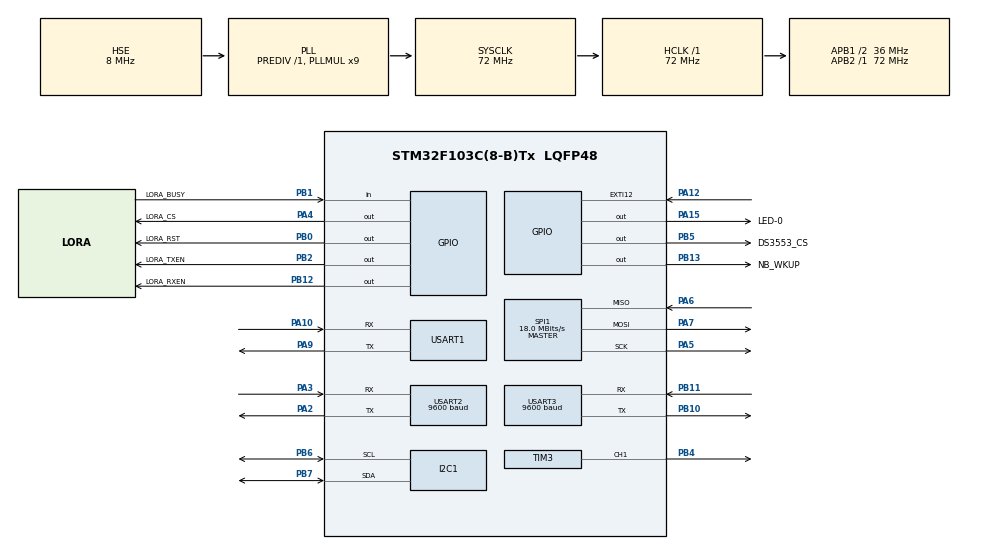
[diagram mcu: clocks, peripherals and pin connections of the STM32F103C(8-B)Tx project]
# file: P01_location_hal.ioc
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I2C1.I2C_Mode=I2C_Standard
Mcu.Family=STM32F1
Mcu.Name=STM32F103C(8-B)Tx
Mcu.Package=LQFP48
NVIC.PriorityGroup=NVIC_PRIORITYGROUP_4
NVIC.USART2_IRQn=true\:1\:0\:true\:false\:true\:true\:true\:true
PA10.Mode=Asynchronous
PA10.Signal=USART1_RX
PA12.GPIO_ModeDefaultEXTI=GPIO_MODE_IT_FALLING
PA12.GPIO_PuPd=GPIO_PULLUP
PA12.Signal=GPXTI12
PA13.Mode=Serial_Wire
PA13.Signal=SYS_JTMS-SWDIO
PA14.Mode=Serial_Wire
PA14.Signal=SYS_JTCK-SWCLK
PA15.GPIO_Label=LED-0
PA15.GPIO_Speed=GPIO_SPEED_FREQ_HIGH
PA15.Signal=GPIO_Output
PA2.Mode=Asynchronous
PA2.Signal=USART2_TX
PA3.Mode=Asynchronous
PA3.Signal=USART2_RX
PA4.GPIO_Label=LORA_CS
PA4.GPIO_Speed=GPIO_SPEED_FREQ_HIGH
PA4.PinState=GPIO_PIN_SET
PA4.Signal=GPIO_Output
PA5.Mode=Full_Duplex_Master
PA5.Signal=SPI1_SCK
PA6.Mode=Full_Duplex_Master
PA6.Signal=SPI1_MISO
PA7.Mode=Full_Duplex_Master
PA7.Signal=SPI1_MOSI
PA9.Mode=Asynchronous
PA9.Signal=USART1_TX
PB0.GPIO_Label=LORA_RST
PB0.GPIO_Speed=GPIO_SPEED_FREQ_HIGH
PB0.Signal=GPIO_Output
PB1.GPIO_Label=LORA_BUSY
PB1.Signal=GPIO_Input
PB10.Mode=Asynchronous
PB10.Signal=USART3_TX
PB11.Mode=Asynchronous
PB11.Signal=USART3_RX
PB12.GPIO_Label=LORA_RXEN
PB12.GPIO_Speed=GPIO_SPEED_FREQ_HIGH
PB12.Signal=GPIO_Output
PB13.GPIO_Label=NB_WKUP
PB13.GPIO_Speed=GPIO_SPEED_FREQ_HIGH
PB13.Signal=GPIO_Output
PB2.GPIO_Label=LORA_TXEN
PB2.GPIO_Speed=GPIO_SPEED_FREQ_HIGH
PB2.PinState=GPIO_PIN_RESET
PB2.Signal=GPIO_Output
PB4.Signal=S_TIM3_CH1
PB5.GPIO_Label=DS3553_CS
PB5.GPIO_Speed=GPIO_SPEED_FREQ_HIGH
PB5.PinState=GPIO_PIN_SET
PB5.Signal=GPIO_Output
PB6.Mode=I2C
PB6.Signal=I2C1_SCL
PB7.Mode=I2C
PB7.Signal=I2C1_SDA
PC14-OSC32_IN.Mode=LSE-External-Oscillator
PC14-OSC32_IN.Signal=RCC_OSC32_IN
PC15-OSC32_OUT.Mode=LSE-External-Oscillator
PC15-OSC32_OUT.Signal=RCC_OSC32_OUT
PD0-OSC_IN.Mode=HSE-External-Oscillator
PD0-OSC_IN.Signal=RCC_OSC_IN
PD1-OSC_OUT.Mode=HSE-External-Oscillator
PD1-OSC_OUT.Signal=RCC_OSC_OUT
ProjectManager.HeapSize=0xA00
ProjectManager.StackSize=0xA00
ProjectManager.TargetToolchain=MDK-ARM V5.32
RCC.ADCPresc=RCC_ADCPCLK2_DIV6
RCC.AHBFreq_Value=72000000
RCC.APB1CLKDivider=RCC_HCLK_DIV2
RCC.APB1Freq_Value=36000000
RCC.APB1TimFreq_Value=72000000
RCC.APB2Freq_Value=72000000
RCC.APB2TimFreq_Value=72000000
RCC.HCLKFreq_Value=72000000
RCC.PLLMUL=RCC_PLL_MUL9
RCC.PLLSourceVirtual=RCC_PLLSOURCE_HSE
RCC.SYSCLKFreq_VALUE=72000000
RCC.SYSCLKSource=RCC_SYSCLKSOURCE_PLLCLK
RCC.USBFreq_Value=72000000
SH.S_TIM3_CH1.0=TIM3_CH1,PWM Generation1 CH1
SPI1.BaudRatePrescaler=SPI_BAUDRATEPRESCALER_4
SPI1.CalculateBaudRate=18.0 MBits/s
SPI1.Direction=SPI_DIRECTION_2LINES
SPI1.Mode=SPI_MODE_MASTER
SPI1.VirtualType=VM_MASTER
TIM3.Channel-PWM\ Generation1\ CH1=TIM_CHANNEL_1
TIM3.Period=20-1
TIM3.Prescaler=7200-1
TIM3.Pulse-PWM\ Generation1\ CH1=10
USART1.VirtualMode=VM_ASYNC
USART2.BaudRate=9600
USART2.VirtualMode=VM_ASYNC
USART3.BaudRate=9600
USART3.VirtualMode=VM_ASYNC
VP_TIM3_VS_ClockSourceINT.Mode=Internal
board=custom

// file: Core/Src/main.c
/* USER CODE BEGIN Header */
/**
 ******************************************************************************
 * @file           : main.c
 * @brief          : Main program body
 ******************************************************************************
 * @attention
 *
 * Copyright (c) 2025 STMicroelectronics.
 * All rights reserved.
 *
 * This software is licensed under terms that can be found in the LICENSE file
 * in the root directory of this software component.
 * If no LICENSE file comes with this software, it is provided AS-IS.
 *
 ******************************************************************************
 */
/* USER CODE END Header */
#include "main.h"
#include "i2c.h"
#include "spi.h"
#include "tim.h"
#include "usart.h"
#include "gpio.h"

/* USER CODE BEGIN Includes */
#include "Com_debug.h"
#include "App_upload_data.h"
#include "App_warning.h"
/* USER CODE END Includes */

/* USER CODE BEGIN PTD */
extern uint8_t gps_full_buff[GPS_FULL_BUFFER_SIZE];
extern uint16_t gps_full_buff_len;
/* USER CODE END PTD */

void SystemClock_Config(void);

int main(void)
{

  /* MCU Configuration--------------------------------------------------------*/

  /* Reset of all peripherals, Initializes the Flash interface and the Systick. */
  HAL_Init();

  /* Configure the system clock */
  SystemClock_Config();

  /* Initialize all configured peripherals */
  MX_GPIO_Init();
  MX_USART1_UART_Init();
  MX_TIM3_Init();
  MX_I2C1_Init();
  MX_USART2_UART_Init();
  MX_USART3_UART_Init();
  MX_SPI1_Init();
  /* USER CODE BEGIN 2 */
  debug_printf("hello world %d", 10);

  // 初始化告警相关硬件
  App_Warning_Init();
  // 初始化上传相关硬件
  App_Upload_Data_init();

  uint32_t tick_count = HAL_GetTick();
  uint8_t status = 0;

  /* USER CODE END 2 */

  /* Infinite loop */
  /* USER CODE BEGIN WHILE */
  while (1)
  {
    // 更新gps定位数据
    if (gps_full_buff_len > 0)
    {
      Int_GPS_Update_Data();
      gps_full_buff_len = 0;
      memset(gps_full_buff, 0, GPS_FULL_BUFFER_SIZE);
      HAL_UARTEx_ReceiveToIdle_IT(&huart2, gps_full_buff, GPS_FULL_BUFFER_SIZE);
    }

    if (status == 1)
    {
      // 两种写法都可以 =>  稳定周期3s 包含代码运行的时间
      // uint32_t current_tick = HAL_GetTick();
      // if (current_tick - tick_count >= 3000)
      // {
      //   // 3s上传一次
      //   App_upload_data();
      //   tick_count = current_tick;
      // }
      // 发出告警 闪灯  发送声音
      App_Warning_run();

      // 稳定发送完成等待3s 实际的周期大于3s
      if (HAL_GetTick() - tick_count >= 3000)
      {
        // 3s上传一次
        App_upload_data(status);
        tick_count = HAL_GetTick();
      }
    }
    else
    {
      // 裸机开发 只能按照代码顺序执行  => 获取GPS信息时无法执行其他的事情
      // 判断逻辑 => 高速运行
      status = App_Warning_Get_status();
      // 稳定发送完成等待5s 实际的周期大于5s
      if (HAL_GetTick() - tick_count >= 5000)
      {
        // 5s上传一次
        App_upload_data(status);
        tick_count = HAL_GetTick();
      }
    }

    /* USER CODE END WHILE */

  }
}

void SystemClock_Config(void)
{
  RCC_OscInitTypeDef RCC_OscInitStruct = {0};
  RCC_ClkInitTypeDef RCC_ClkInitStruct = {0};

  /** Initializes the RCC Oscillators according to the specified parameters
   * in the RCC_OscInitTypeDef structure.
   */
  RCC_OscInitStruct.OscillatorType = RCC_OSCILLATORTYPE_HSE;
  RCC_OscInitStruct.HSEState = RCC_HSE_ON;
  RCC_OscInitStruct.HSEPredivValue = RCC_HSE_PREDIV_DIV1;
  RCC_OscInitStruct.HSIState = RCC_HSI_ON;
  RCC_OscInitStruct.PLL.PLLState = RCC_PLL_ON;
  RCC_OscInitStruct.PLL.PLLSource = RCC_PLLSOURCE_HSE;
  RCC_OscInitStruct.PLL.PLLMUL = RCC_PLL_MUL9;
  if (HAL_RCC_OscConfig(&RCC_OscInitStruct) != HAL_OK)
  {
    Error_Handler();
  }

  /** Initializes the CPU, AHB and APB buses clocks
   */
  RCC_ClkInitStruct.ClockType = RCC_CLOCKTYPE_HCLK | RCC_CLOCKTYPE_SYSCLK | RCC_CLOCKTYPE_PCLK1 | RCC_CLOCKTYPE_PCLK2;
  RCC_ClkInitStruct.SYSCLKSource = RCC_SYSCLKSOURCE_PLLCLK;
  RCC_ClkInitStruct.AHBCLKDivider = RCC_SYSCLK_DIV1;
  RCC_ClkInitStruct.APB1CLKDivider = RCC_HCLK_DIV2;
  RCC_ClkInitStruct.APB2CLKDivider = RCC_HCLK_DIV1;

  if (HAL_RCC_ClockConfig(&RCC_ClkInitStruct, FLASH_LATENCY_2) != HAL_OK)
  {
    Error_Handler();
  }
}

void Error_Handler(void)
{
  __disable_irq();
  while (1)
  {
  }
}
